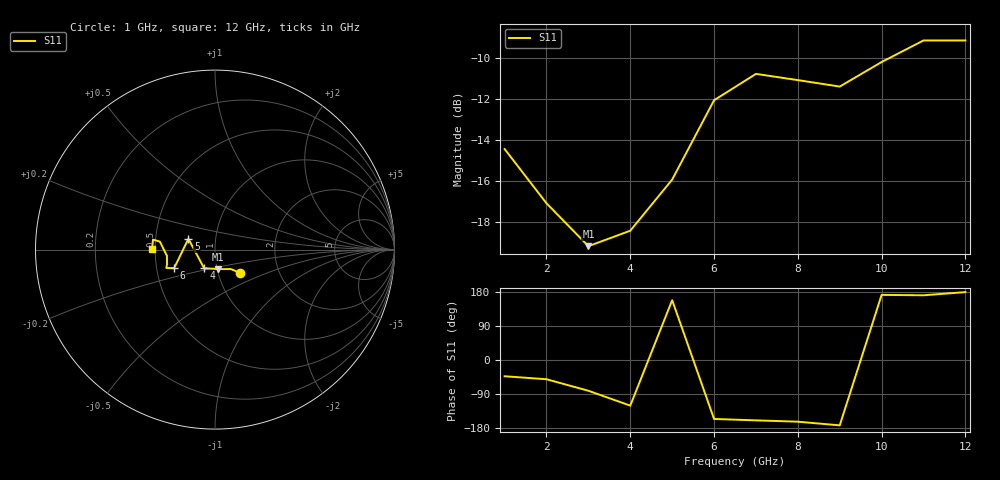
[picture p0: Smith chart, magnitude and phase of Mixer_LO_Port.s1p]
# GHz S MA R 50
! Frequency(GHz) Mag  Angle
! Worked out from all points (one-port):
!   12 points, 1 GHz to 12 GHz, reference 50 ohm
!   lowest |S11| = -19.2 dB at 3 GHz (marker M1), VSWR 1.25, Z = 50.5 - j11.1 ohm
!   |S11| at or under -10 dB: start of sweep to 10.16 GHz
!   S11 on the Smith chart (normalised r, x): 1 GHz: 1.27, -0.34; 4 GHz: 0.87, -0.18; 5 GHz: 0.74, +0.09; 6 GHz: 0.62, -0.14; 12 GHz: 0.48, +0.01
1  0.19 -42.9
2  0.14 -50.8
3  0.11 -81.2
4  0.12 -120.4
5  0.16 157.9
6  0.25 -155.6
7  0.29 -159.3
8  0.28 -162.8
9  0.27 -172.5
10  0.31 171.8
11  0.35 170.8
12  0.35 179.1
